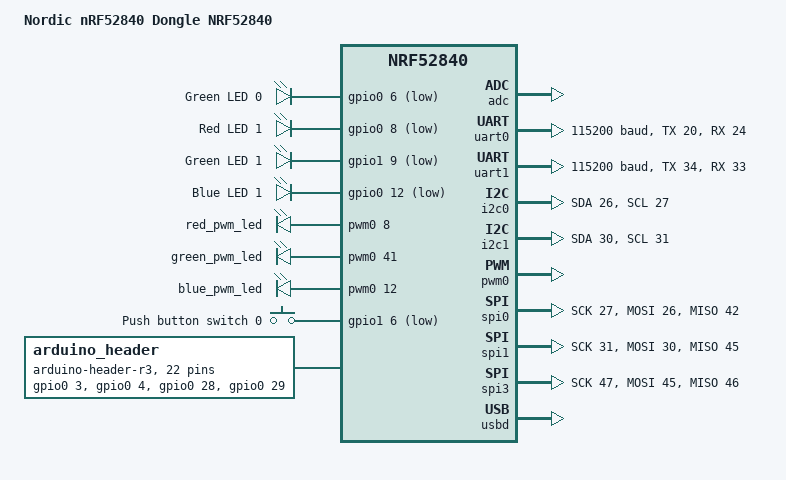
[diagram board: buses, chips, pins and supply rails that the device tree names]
/*
 * Copyright (c) 2018 Nordic Semiconductor ASA
 * Copyright (c) 2017 Linaro Limited
 *
 * SPDX-License-Identifier: Apache-2.0
 */

/dts-v1/;
#include <nordic/nrf52840_qiaa.dtsi>

/ {
	model = "Nordic nRF52840 Dongle NRF52840";
	compatible = "nordic,nrf52840-dongle-nrf52840";

	chosen {
		zephyr,console = &uart0;
		zephyr,shell-uart = &uart0;
		zephyr,uart-mcumgr = &uart0;
		zephyr,bt-mon-uart = &uart0;
		zephyr,bt-c2h-uart = &uart0;
		zephyr,sram = &sram0;
		zephyr,flash = &flash0;
		zephyr,code-partition = &slot0_partition;
	};

	leds {
		compatible = "gpio-leds";
		led0_green: led_0 {
			gpios = <&gpio0 6 GPIO_ACTIVE_LOW>;
			label = "Green LED 0";
		};
		led1_red: led_1 {
			gpios = <&gpio0 8 GPIO_ACTIVE_LOW>;
			label = "Red LED 1";
		};
		led1_green: led_2 {
			gpios = <&gpio1 9 GPIO_ACTIVE_LOW>;
			label = "Green LED 1";
		};
		led1_blue: led_3 {
			gpios = <&gpio0 12 GPIO_ACTIVE_LOW>;
			label = "Blue LED 1";
		};
	};

	pwmleds {
		compatible = "pwm-leds";
		red_pwm_led: pwm_led_0 {
			pwms = <&pwm0 8>;
		};
		green_pwm_led: pwm_led_1 {
			pwms = <&pwm0 41>;
		};
		blue_pwm_led: pwm_led_2 {
			pwms = <&pwm0 12>;
		};
	};

	buttons {
		compatible = "gpio-keys";
		button0: button_0 {
			gpios = <&gpio1 6 (GPIO_PULL_UP | GPIO_ACTIVE_LOW)>;
			label = "Push button switch 0";
		};
	};

	arduino_header: connector {
		compatible = "arduino-header-r3";
		#gpio-cells = <2>;
		gpio-map-mask = <0xffffffff 0xffffffc0>;
		gpio-map-pass-thru = <0 0x3f>;
		gpio-map = <0 0 &gpio0 3 0>,	/* A0 */
			   <1 0 &gpio0 4 0>,	/* A1 */
			   <2 0 &gpio0 28 0>,	/* A2 */
			   <3 0 &gpio0 29 0>,	/* A3 */
			   <4 0 &gpio0 30 0>,	/* A4 */
			   <5 0 &gpio0 31 0>,	/* A5 */
			   <6 0 &gpio1 1 0>,	/* D0 */
			   <7 0 &gpio1 2 0>,	/* D1 */
			   <8 0 &gpio1 3 0>,	/* D2 */
			   <9 0 &gpio1 4 0>,	/* D3 */
			   <10 0 &gpio1 5 0>,	/* D4 */
			   <11 0 &gpio1 6 0>,	/* D5 */
			   <12 0 &gpio1 7 0>,	/* D6 */
			   <13 0 &gpio0 24 0>,	/* D7 */
			   <14 0 &gpio1 10 0>,	/* D8 */
			   <15 0 &gpio0 20 0>,	/* D9 */
			   <16 0 &gpio0 22 0>,	/* D10 */
			   <17 0 &gpio1 13 0>,	/* D11 */
			   <18 0 &gpio1 14 0>,	/* D12 */
			   <19 0 &gpio1 15 0>,	/* D13 */
			   <20 0 &gpio0 26 0>,	/* D14 */
			   <21 0 &gpio0 27 0>;	/* D15 */
	};



	/* These aliases are provided for compatibility with samples */
	aliases {
		sw0 = &button0;
		led0 = &led0_green;
		led1 = &led1_red;
		led2 = &led1_green;
		led3 = &led1_blue;
		led0-green = &led0_green;
		led1-red   = &led1_red;
		led1-green = &led1_green;
		led1-blue  = &led1_blue;
		pwm-led0 = &red_pwm_led;
		pwm-led1 = &green_pwm_led;
		pwm-led2 = &blue_pwm_led;
		red-pwm-led = &red_pwm_led;
		green-pwm-led = &green_pwm_led;
		blue-pwm-led = &blue_pwm_led;
	};
};

&adc {
	status = "okay";
};

&gpiote {
	status = "okay";
};

&gpio0 {
	status = "okay";
};

&gpio1 {
	status = "okay";
};

&uart0 {
	compatible = "nordic,nrf-uarte";
	status = "okay";
	current-speed = <115200>;
	tx-pin = <20>;
	rx-pin = <24>;
	rts-pin = <17>;
	cts-pin = <22>;
};

arduino_serial: &uart1 {
	status = "okay";
	current-speed = <115200>;
	rx-pin = <33>;
	tx-pin = <34>;
};

arduino_i2c: &i2c0 {
	compatible = "nordic,nrf-twi";
	status = "okay";
	sda-pin = <26>;
	scl-pin = <27>;
};

&i2c0 {
	compatible = "nordic,nrf-twi";
	status = "okay";
	sda-pin = <26>;
	scl-pin = <27>;
};

&i2c1 {
	compatible = "nordic,nrf-twi";
	/* Cannot be used together with spi1. */
	/* status = "okay"; */
	sda-pin = <30>;
	scl-pin = <31>;
};

&pwm0 {
	status = "okay";
	ch0-pin = <8>;
	ch0-inverted;
	ch1-pin = <41>;
	ch1-inverted;
	ch2-pin = <12>;
	ch2-inverted;
};

/*
 * By default, not adding all available SPI instances (spi2, spi3) due to
 * limited GPIOs available on dongle board.
 */
&spi0 {
	compatible = "nordic,nrf-spi";
	/* Cannot be used together with i2c0. */
	/* status = "okay"; */
	sck-pin = <27>;
	mosi-pin = <26>;
	miso-pin = <42>;
};

&spi1 {
	compatible = "nordic,nrf-spi";
	status = "okay";
	sck-pin = <31>;
	mosi-pin = <30>;
	miso-pin = <45>;
};

arduino_spi: &spi3 {
	status = "okay";
	sck-pin = <47>;
	miso-pin = <46>;
	mosi-pin = <45>;
	cs-gpios = <&arduino_header 16 GPIO_ACTIVE_LOW>; /* D10 */
};


/* Include flash partition table.
 * Two partition tables are available:
 * fstab-stock		-compatible with Nordic nRF5 bootloader, default
 * fstab-debugger	-to use an external debugger, w/o the nRF5 bootloader
 */
#include "fstab-stock.dts"

&usbd {
	compatible = "nordic,nrf-usbd";
	status = "okay";
};
